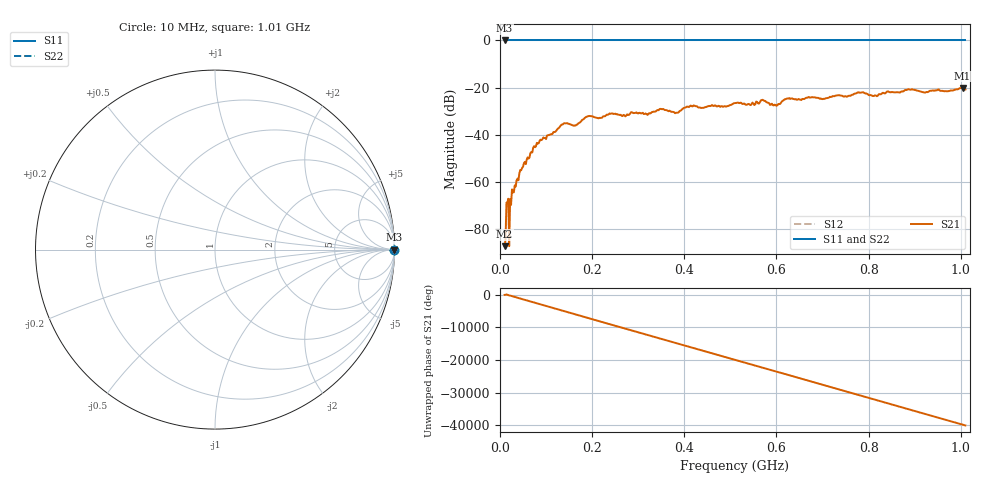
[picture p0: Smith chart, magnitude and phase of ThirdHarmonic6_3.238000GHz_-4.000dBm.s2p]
! 8/17/2025 9:55:49 AM
! C:\ANRITSUVNA\TEMP\TEMP.S2P
! CHANNEL.1
! TR.MEASUREMENT
! RAW.DATA
! RF.CORRECTION.OFF
! AVERAGING.OFF
! IF.BANDWIDTH: 5KHZ
! SWEEPTYPE:  FREQ.SWEEP(Linear)
! Reference Plane Port Info
! PORT:  PORT1  PORT2
! DISTANCE:  0  m  0  m
! TIME:  0  s  0  s
! PHASE.OFFSET:  0  deg.  0  deg.
! LOSS:  0  dB  0  dB
! REF.LOSS:  0  dB  0  dB
! REF.FREQ:  0  Hz  0  Hz
! Power Info
! POWER:  -20  dBm  -20  dBm
! EFF.POWER:  -20  dBm  -20  dBm
! SOURCE.ATTEN:  0  dB  0  dB
! TEST.ATTEN:  0  dB  0  dB
# GHZ S RI R 50.0
! FREQ.GHZ  S11RE  S11IM  S21RE  S21IM  S12RE  S12IM  S22RE  S22IM
!; PortSelection: Port_12
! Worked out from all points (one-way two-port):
!   501 points, 10 MHz to 1.01 GHz, reference 50 ohm
!   highest |S21| = -20.23 dB at 1.004 GHz (marker M1); lowest = -87.5 dB at 10 MHz (marker M2)
!   lowest |S11| = 0.0 dB at 10 MHz (marker M3)
!   |S11| at or under -10 dB: nowhere
!   |S22| runs from 0.0 to 0.0 dB; largest |S21 - S12| = 1.1
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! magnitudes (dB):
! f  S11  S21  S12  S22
! 10 MHz  0.0  -87.5  0.0  0.0
! 14 MHz  0.0  -69.0  0.0  0.0
! 24 MHz  0.0  -69.9  0.0  0.0
! 26 MHz  0.0  -63.3  0.0  0.0
! 40 MHz  0.0  -59.4  0.0  0.0
! 76 MHz  0.0  -45.4  0.0  0.0
! 136 MHz  0.0  -35.7  0.0  0.0
! 162 MHz  0.0  -36.2  0.0  0.0
! 178 MHz  0.0  -33.8  0.0  0.0
! 194 MHz  0.0  -32.1  0.0  0.0
! 322 MHz  0.0  -31.2  0.0  0.0
! 344 MHz  0.0  -29.7  0.0  0.0
! 384 MHz  0.0  -30.7  0.0  0.0
! 410 MHz  0.0  -28.3  0.0  0.0
! 510 MHz  0.0  -26.6  0.0  0.0
! 570 MHz  0.0  -25.2  0.0  0.0
! 598 MHz  0.0  -27.4  0.0  0.0
! 624 MHz  0.0  -24.6  0.0  0.0
! 678 MHz  0.0  -24.1  0.0  0.0
! 844 MHz  0.0  -21.9  0.0  0.0
! 1.004 GHz  0.0  -20.2  0.0  0.0
! 1.01 GHz  0.0  -20.8  0.0  0.0
